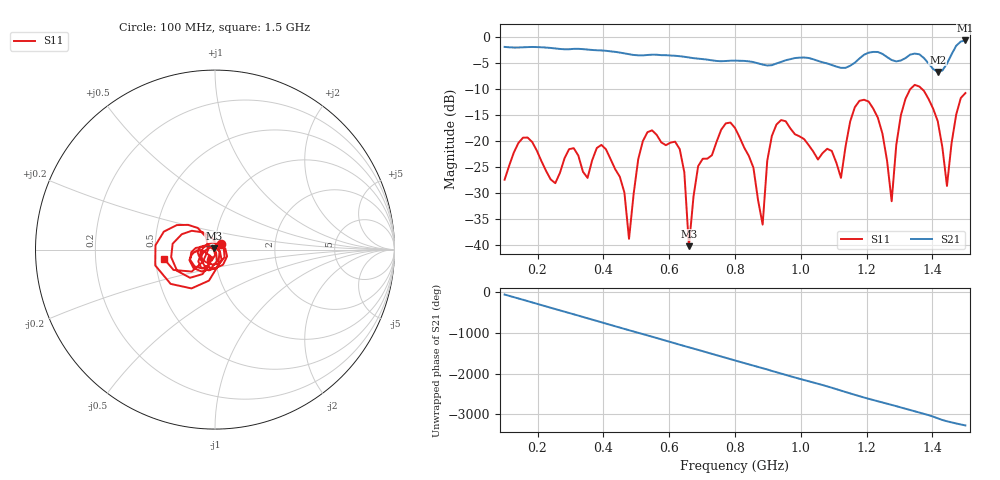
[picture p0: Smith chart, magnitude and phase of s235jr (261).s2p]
! NanoVNA-App
! Date: 2025-09-25 15:06:11
! Start: 100MHz Stop: 1,5GHz Points: 101
! S-Parameter data: F S11 S21 S12 S22
# Hz S RI R 50
!  Frequency  S11_Real  S11_Imag  S21_Real  S21_Imag  S12_Real  S12_Imag  S22_Real  S22_Imag
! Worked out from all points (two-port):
!   101 points, 100 MHz to 1.5 GHz, reference 50 ohm
!   highest |S21| = -0.72 dB at 1.5 GHz (marker M1); lowest = -6.8 dB at 1.416 GHz (marker M2)
!   |S21| within 3 dB of the highest: start of sweep to 628 MHz; 1.187 GHz to 1.258 GHz (70.52 MHz wide, 5.77 % of centre) (the widest 2 of 4)
!   lowest |S11| = -40.2 dB at 660 MHz (marker M3), VSWR 1.02, Z = 49.3 + j0.628 ohm
!   |S11| at or under -10 dB: start of sweep to 1.334 GHz; 1.367 GHz to end of sweep
!   S12 and S22 are empty: the file has one direction only
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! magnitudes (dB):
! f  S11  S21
! 100 MHz  -27.5  -2.0
! 156 MHz  -19.4  -2.0
! 338 MHz  -25.9  -2.4
! 408 MHz  -21.6  -2.7
! 478 MHz  -38.8  -3.4
! 520 MHz  -20.1  -3.6
! 576 MHz  -20.3  -3.5
! 632 MHz  -21.6  -3.7
! 660 MHz  -40.2  -4.0
! 688 MHz  -24.9  -4.2
! 800 MHz  -17.5  -4.6
! 884 MHz  -36.1  -5.4
! 926 MHz  -16.9  -5.1
! 1.038 GHz  -22.1  -4.3
! 1.122 GHz  -27.1  -6.0
! 1.164 GHz  -13.6  -5.0
! 1.206 GHz  -12.5  -3.1
! 1.276 GHz  -31.6  -4.5
! 1.332 GHz  -10.1  -3.5
! 1.416 GHz  -16.2  -6.8
! 1.444 GHz  -28.7  -5.2
! 1.5 GHz  -10.8  -0.7
